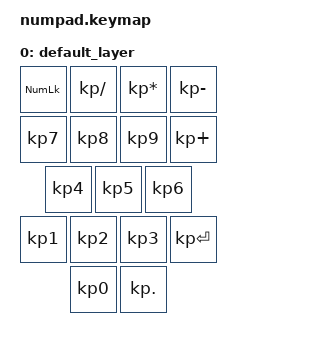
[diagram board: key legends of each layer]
#include <behaviors.dtsi>
#include <dt-bindings/zmk/keys.h>
#include <dt-bindings/zmk/bt.h> 

/ {
    keymap {
        compatible = "zmk,keymap";

        default_layer {
            bindings = <
                &kp KP_NUM    &kp KP_SLASH    &kp KP_ASTERISK    &kp KP_MINUS
                &kp KP_N7    &kp KP_N8    &kp KP_N9    &kp KP_PLUS
                &kp KP_N4    &kp KP_N5    &kp KP_N6
                &kp KP_N1    &kp KP_N2  &kp KP_N3 &kp KP_ENTER
                &kp KP_N0                &kp KP_DOT
            >;
        };
    };
};
